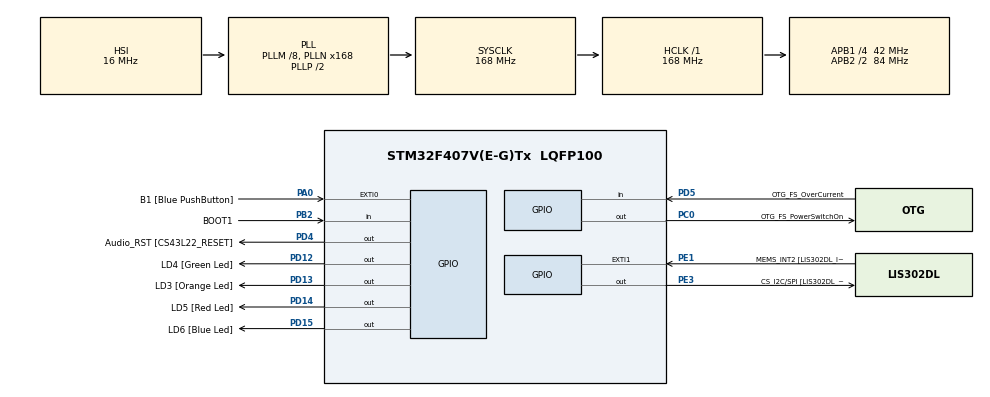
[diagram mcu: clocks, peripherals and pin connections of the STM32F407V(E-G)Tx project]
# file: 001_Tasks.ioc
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Mcu.Family=STM32F4
Mcu.Name=STM32F407V(E-G)Tx
Mcu.Package=LQFP100
NVIC.PriorityGroup=NVIC_PRIORITYGROUP_4
NVIC.TIM6_DAC_IRQn=true\:0\:0\:false\:false\:true\:false\:true\:true
NVIC.TimeBase=TIM6_DAC_IRQn
NVIC.TimeBaseIP=TIM6
PA0-WKUP.GPIO_Label=B1 [Blue PushButton]
PA0-WKUP.Signal=GPXTI0
PA10.GPIO_Label=OTG_FS_ID
PA10.GPIO_Mode=GPIO_MODE_AF_PP
PA10.GPIO_PuPd=GPIO_NOPULL
PA10.GPIO_Speed=GPIO_SPEED_FREQ_LOW
PA10.Signal=USB_OTG_FS_ID
PA11.GPIO_Label=OTG_FS_DM
PA11.GPIO_Mode=GPIO_MODE_AF_PP
PA11.GPIO_PuPd=GPIO_NOPULL
PA11.GPIO_Speed=GPIO_SPEED_FREQ_LOW
PA11.Signal=USB_OTG_FS_DM
PA12.GPIO_Label=OTG_FS_DP
PA12.GPIO_Mode=GPIO_MODE_AF_PP
PA12.GPIO_PuPd=GPIO_NOPULL
PA12.GPIO_Speed=GPIO_SPEED_FREQ_LOW
PA12.Signal=USB_OTG_FS_DP
PA13.GPIO_Label=SWDIO
PA13.Signal=SYS_JTMS-SWDIO
PA14.GPIO_Label=SWCLK
PA14.Signal=SYS_JTCK-SWCLK
PA4.GPIO_Label=I2S3_WS [CS43L22_LRCK]
PA4.GPIO_Mode=GPIO_MODE_AF_PP
PA4.GPIO_PuPd=GPIO_NOPULL
PA4.GPIO_Speed=GPIO_SPEED_FREQ_LOW
PA4.Signal=I2S3_WS
PA5.GPIO_Label=SPI1_SCK [LIS302DL_SCL/SPC]
PA5.GPIO_Mode=GPIO_MODE_AF_PP
PA5.GPIO_PuPd=GPIO_NOPULL
PA5.GPIO_Speed=GPIO_SPEED_FREQ_LOW
PA5.Signal=SPI1_SCK
PA6.GPIO_Label=SPI1_MISO [LIS302DL_SDO]
PA6.GPIO_Mode=GPIO_MODE_AF_PP
PA6.GPIO_PuPd=GPIO_NOPULL
PA6.GPIO_Speed=GPIO_SPEED_FREQ_LOW
PA6.Signal=SPI1_MISO
PA7.GPIO_Label=SPI1_MOSI [LIS302DL_SDA/SDI/SDO]
PA7.GPIO_Mode=GPIO_MODE_AF_PP
PA7.GPIO_PuPd=GPIO_NOPULL
PA7.GPIO_Speed=GPIO_SPEED_FREQ_LOW
PA7.Signal=SPI1_MOSI
PA9.GPIO_Label=VBUS_FS
PA9.GPIO_Mode=GPIO_MODE_INPUT
PA9.GPIO_PuPd=GPIO_NOPULL
PA9.Signal=USB_OTG_FS_VBUS
PB10.GPIO_Label=CLK_IN [MP45DT02_CLK]
PB10.GPIO_Mode=GPIO_MODE_AF_PP
PB10.GPIO_PuPd=GPIO_NOPULL
PB10.GPIO_Speed=GPIO_SPEED_FREQ_LOW
PB10.Signal=I2S2_CK
PB2.GPIO_Label=BOOT1
PB2.GPIO_Mode=GPIO_MODE_INPUT
PB2.GPIO_PuPd=GPIO_NOPULL
PB2.Signal=GPIO_Input
PB3.GPIO_Label=SWO
PB3.Signal=SYS_JTDO-SWO
PB6.GPIO_Label=Audio_SCL [CS43L22_SCL]
PB6.GPIO_Mode=GPIO_MODE_AF_OD
PB6.GPIO_PuPd=GPIO_NOPULL
PB6.GPIO_Speed=GPIO_SPEED_FREQ_LOW
PB6.Signal=I2C1_SCL
PB9.GPIO_Label=Audio_SDA [CS43L22_SDA]
PB9.GPIO_Mode=GPIO_MODE_AF_OD
PB9.GPIO_PuPd=GPIO_NOPULL
PB9.GPIO_Speed=GPIO_SPEED_FREQ_LOW
PB9.Signal=I2C1_SDA
PC0.GPIO_Label=OTG_FS_PowerSwitchOn
PC0.GPIO_PuPd=GPIO_NOPULL
PC0.GPIO_Speed=GPIO_SPEED_FREQ_LOW
PC0.PinState=GPIO_PIN_SET
PC0.Signal=GPIO_Output
PC10.GPIO_Label=I2S3_SCK [CS43L22_SCLK]
PC10.GPIO_Mode=GPIO_MODE_AF_PP
PC10.GPIO_PuPd=GPIO_NOPULL
PC10.GPIO_Speed=GPIO_SPEED_FREQ_LOW
PC10.Signal=I2S3_CK
PC12.GPIO_Label=I2S3_SD [CS43L22_SDIN]
PC12.GPIO_Mode=GPIO_MODE_AF_PP
PC12.GPIO_PuPd=GPIO_NOPULL
PC12.GPIO_Speed=GPIO_SPEED_FREQ_LOW
PC12.Signal=I2S3_SD
PC14-OSC32_IN.GPIO_Label=PC14-OSC32_IN
PC14-OSC32_IN.Signal=RCC_OSC32_IN
PC15-OSC32_OUT.GPIO_Label=PC15-OSC32_OUT
PC15-OSC32_OUT.Signal=RCC_OSC32_OUT
PC3.GPIO_Label=PDM_OUT [MP45DT02_DOUT]
PC3.GPIO_Mode=GPIO_MODE_AF_PP
PC3.GPIO_PuPd=GPIO_NOPULL
PC3.GPIO_Speed=GPIO_SPEED_FREQ_LOW
PC3.Signal=I2S2_SD
PC7.GPIO_Label=I2S3_MCK [CS43L22_MCLK]
PC7.GPIO_Mode=GPIO_MODE_AF_PP
PC7.GPIO_PuPd=GPIO_NOPULL
PC7.GPIO_Speed=GPIO_SPEED_FREQ_LOW
PC7.Signal=I2S3_MCK
PD12.GPIO_Label=LD4 [Green Led]
PD12.GPIO_PuPd=GPIO_NOPULL
PD12.GPIO_Speed=GPIO_SPEED_FREQ_LOW
PD12.Signal=GPIO_Output
PD13.GPIO_Label=LD3 [Orange Led]
PD13.GPIO_PuPd=GPIO_NOPULL
PD13.GPIO_Speed=GPIO_SPEED_FREQ_LOW
PD13.Signal=GPIO_Output
PD14.GPIO_Label=LD5 [Red Led]
PD14.GPIO_PuPd=GPIO_NOPULL
PD14.GPIO_Speed=GPIO_SPEED_FREQ_LOW
PD14.Signal=GPIO_Output
PD15.GPIO_Label=LD6 [Blue Led]
PD15.GPIO_PuPd=GPIO_NOPULL
PD15.GPIO_Speed=GPIO_SPEED_FREQ_LOW
PD15.Signal=GPIO_Output
PD4.GPIO_Label=Audio_RST [CS43L22_RESET]
PD4.GPIO_PuPd=GPIO_NOPULL
PD4.GPIO_Speed=GPIO_SPEED_FREQ_LOW
PD4.Signal=GPIO_Output
PD5.GPIO_Label=OTG_FS_OverCurrent
PD5.GPIO_Mode=GPIO_MODE_INPUT
PD5.GPIO_PuPd=GPIO_NOPULL
PD5.Signal=GPIO_Input
PE1.GPIO_Label=MEMS_INT2 [LIS302DL_INT2]
PE1.GPIO_ModeDefaultEXTI=GPIO_MODE_EVT_RISING
PE1.GPIO_PuPd=GPIO_NOPULL
PE1.Signal=GPXTI1
PE3.GPIO_Label=CS_I2C/SPI [LIS302DL_CS_I2C/SPI]
PE3.GPIO_PuPd=GPIO_NOPULL
PE3.GPIO_Speed=GPIO_SPEED_FREQ_LOW
PE3.Signal=GPIO_Output
PH0-OSC_IN.GPIO_Label=PH0-OSC_IN
PH0-OSC_IN.Signal=RCC_OSC_IN
PH1-OSC_OUT.GPIO_Label=PH1-OSC_OUT
PH1-OSC_OUT.Signal=RCC_OSC_OUT
ProjectManager.HeapSize=0x200
ProjectManager.StackSize=0x400
ProjectManager.TargetToolchain=STM32CubeIDE
RCC.48MHZClocksFreq_Value=48000000
RCC.AHBFreq_Value=168000000
RCC.APB1CLKDivider=RCC_HCLK_DIV4
RCC.APB1Freq_Value=42000000
RCC.APB1TimFreq_Value=84000000
RCC.APB2CLKDivider=RCC_HCLK_DIV2
RCC.APB2Freq_Value=84000000
RCC.APB2TimFreq_Value=168000000
RCC.CortexFreq_Value=168000000
RCC.HCLKFreq_Value=168000000
RCC.HSE_VALUE=8000000
RCC.HSI_VALUE=16000000
RCC.LSE_VALUE=32768
RCC.PLLM=8
RCC.PLLN=168
RCC.PLLQ=7
RCC.SYSCLKFreq_VALUE=168000000
RCC.SYSCLKSource=RCC_SYSCLKSOURCE_PLLCLK
RCC.VCOOutputFreq_Value=336000000
VP_SYS_VS_tim6.Mode=TIM6
board=STM32F407G-DISC1

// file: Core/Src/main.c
/* USER CODE BEGIN Header */
/**
  ******************************************************************************
  * @file           : main.c
  * @brief          : Main program body
  ******************************************************************************
  * @attention
  *
  * Copyright (c) 2025 STMicroelectronics.
  * All rights reserved.
  *
  * This software is licensed under terms that can be found in the LICENSE file
  * in the root directory of this software component.
  * If no LICENSE file comes with this software, it is provided AS-IS.
  *
  ******************************************************************************
  */
/* USER CODE END Header */
#include "main.h"

/* USER CODE BEGIN Includes */
#include "FreeRTOS.h"
#include "task.h"
#include<stdio.h>

/* USER CODE END Includes */

/* USER CODE BEGIN PM */
#define DWT_CTRL    (*(volatile uint32_t*)0xE0001000)
/* USER CODE END PM */

void SystemClock_Config(void);
static void MX_GPIO_Init(void);
/* USER CODE BEGIN PFP */
static void task1_handler(void* parameters);
static void task2_handler(void* parameters);
extern void SEGGER_UART_init(unsigned int baud);
/* USER CODE END PFP */

int main(void)
{

  /* USER CODE BEGIN 1 */
	BaseType_t status;
	TaskHandle_t task1_handle, task2_handle;
  /* USER CODE END 1 */

  /* MCU Configuration--------------------------------------------------------*/

  /* Reset of all peripherals, Initializes the Flash interface and the Systick. */
  HAL_Init();

  /* Configure the system clock */
  SystemClock_Config();

  /* Initialize all configured peripherals */
  MX_GPIO_Init();
  /* USER CODE BEGIN 2 */

  /* Enable the CYCCNT counter */
  DWT_CTRL |= (1 << 0);
  SEGGER_UART_init(500000);
  SEGGER_SYSVIEW_Conf();
  //SEGGER_SYSVIEW_Start();
  status = xTaskCreate(task1_handler, "Task-1", 200, "Hello world from Task-1", 2, &task1_handle);
  configASSERT(status == pdPASS);

  status = xTaskCreate(task2_handler, "Task-2", 200, "Hello world from Task-2", 2, &task2_handle);
  configASSERT(status == pdPASS);

  /* Start the freeRTOS scheduler */
  vTaskStartScheduler();

  /* USER CODE END 2 */

  /* Infinite loop */
  while (1)
  {

  }
}

void SystemClock_Config(void)
{
  RCC_OscInitTypeDef RCC_OscInitStruct = {0};
  RCC_ClkInitTypeDef RCC_ClkInitStruct = {0};

  /** Configure the main internal regulator output voltage
  */
  __HAL_RCC_PWR_CLK_ENABLE();
  __HAL_PWR_VOLTAGESCALING_CONFIG(PWR_REGULATOR_VOLTAGE_SCALE1);

  /** Initializes the RCC Oscillators according to the specified parameters
  * in the RCC_OscInitTypeDef structure.
  */
  RCC_OscInitStruct.OscillatorType = RCC_OSCILLATORTYPE_HSI;
  RCC_OscInitStruct.HSIState = RCC_HSI_ON;
  RCC_OscInitStruct.HSICalibrationValue = RCC_HSICALIBRATION_DEFAULT;
  RCC_OscInitStruct.PLL.PLLState = RCC_PLL_ON;
  RCC_OscInitStruct.PLL.PLLSource = RCC_PLLSOURCE_HSI;
  RCC_OscInitStruct.PLL.PLLM = 8;
  RCC_OscInitStruct.PLL.PLLN = 168;
  RCC_OscInitStruct.PLL.PLLP = RCC_PLLP_DIV2;
  RCC_OscInitStruct.PLL.PLLQ = 7;
  if (HAL_RCC_OscConfig(&RCC_OscInitStruct) != HAL_OK)
  {
    Error_Handler();
  }

  /** Initializes the CPU, AHB and APB buses clocks
  */
  RCC_ClkInitStruct.ClockType = RCC_CLOCKTYPE_HCLK|RCC_CLOCKTYPE_SYSCLK
                              |RCC_CLOCKTYPE_PCLK1|RCC_CLOCKTYPE_PCLK2;
  RCC_ClkInitStruct.SYSCLKSource = RCC_SYSCLKSOURCE_PLLCLK;
  RCC_ClkInitStruct.AHBCLKDivider = RCC_SYSCLK_DIV1;
  RCC_ClkInitStruct.APB1CLKDivider = RCC_HCLK_DIV4;
  RCC_ClkInitStruct.APB2CLKDivider = RCC_HCLK_DIV2;

  if (HAL_RCC_ClockConfig(&RCC_ClkInitStruct, FLASH_LATENCY_5) != HAL_OK)
  {
    Error_Handler();
  }
}

static void MX_GPIO_Init(void)
{
  GPIO_InitTypeDef GPIO_InitStruct = {0};

  /* GPIO Ports Clock Enable */
  __HAL_RCC_GPIOE_CLK_ENABLE();
  __HAL_RCC_GPIOC_CLK_ENABLE();
  __HAL_RCC_GPIOH_CLK_ENABLE();
  __HAL_RCC_GPIOA_CLK_ENABLE();
  __HAL_RCC_GPIOB_CLK_ENABLE();
  __HAL_RCC_GPIOD_CLK_ENABLE();

  /*Configure GPIO pin Output Level */
  HAL_GPIO_WritePin(CS_I2C_SPI_GPIO_Port, CS_I2C_SPI_Pin, GPIO_PIN_RESET);

  /*Configure GPIO pin Output Level */
  HAL_GPIO_WritePin(OTG_FS_PowerSwitchOn_GPIO_Port, OTG_FS_PowerSwitchOn_Pin, GPIO_PIN_SET);

  /*Configure GPIO pin Output Level */
  HAL_GPIO_WritePin(GPIOD, LD4_Pin|LD3_Pin|LD5_Pin|LD6_Pin
                          |Audio_RST_Pin, GPIO_PIN_RESET);

  /*Configure GPIO pin : CS_I2C_SPI_Pin */
  GPIO_InitStruct.Pin = CS_I2C_SPI_Pin;
  GPIO_InitStruct.Mode = GPIO_MODE_OUTPUT_PP;
  GPIO_InitStruct.Pull = GPIO_NOPULL;
  GPIO_InitStruct.Speed = GPIO_SPEED_FREQ_LOW;
  HAL_GPIO_Init(CS_I2C_SPI_GPIO_Port, &GPIO_InitStruct);

  /*Configure GPIO pin : OTG_FS_PowerSwitchOn_Pin */
  GPIO_InitStruct.Pin = OTG_FS_PowerSwitchOn_Pin;
  GPIO_InitStruct.Mode = GPIO_MODE_OUTPUT_PP;
  GPIO_InitStruct.Pull = GPIO_NOPULL;
  GPIO_InitStruct.Speed = GPIO_SPEED_FREQ_LOW;
  HAL_GPIO_Init(OTG_FS_PowerSwitchOn_GPIO_Port, &GPIO_InitStruct);

  /*Configure GPIO pin : PDM_OUT_Pin */
  GPIO_InitStruct.Pin = PDM_OUT_Pin;
  GPIO_InitStruct.Mode = GPIO_MODE_AF_PP;
  GPIO_InitStruct.Pull = GPIO_NOPULL;
  GPIO_InitStruct.Speed = GPIO_SPEED_FREQ_LOW;
  GPIO_InitStruct.Alternate = GPIO_AF5_SPI2;
  HAL_GPIO_Init(PDM_OUT_GPIO_Port, &GPIO_InitStruct);

  /*Configure GPIO pin : B1_Pin */
  GPIO_InitStruct.Pin = B1_Pin;
  GPIO_InitStruct.Mode = GPIO_MODE_IT_RISING;
  GPIO_InitStruct.Pull = GPIO_NOPULL;
  HAL_GPIO_Init(B1_GPIO_Port, &GPIO_InitStruct);

  /*Configure GPIO pin : I2S3_WS_Pin */
  GPIO_InitStruct.Pin = I2S3_WS_Pin;
  GPIO_InitStruct.Mode = GPIO_MODE_AF_PP;
  GPIO_InitStruct.Pull = GPIO_NOPULL;
  GPIO_InitStruct.Speed = GPIO_SPEED_FREQ_LOW;
  GPIO_InitStruct.Alternate = GPIO_AF6_SPI3;
  HAL_GPIO_Init(I2S3_WS_GPIO_Port, &GPIO_InitStruct);

  /*Configure GPIO pins : SPI1_SCK_Pin SPI1_MISO_Pin SPI1_MOSI_Pin */
  GPIO_InitStruct.Pin = SPI1_SCK_Pin|SPI1_MISO_Pin|SPI1_MOSI_Pin;
  GPIO_InitStruct.Mode = GPIO_MODE_AF_PP;
  GPIO_InitStruct.Pull = GPIO_NOPULL;
  GPIO_InitStruct.Speed = GPIO_SPEED_FREQ_LOW;
  GPIO_InitStruct.Alternate = GPIO_AF5_SPI1;
  HAL_GPIO_Init(GPIOA, &GPIO_InitStruct);

  /*Configure GPIO pin : BOOT1_Pin */
  GPIO_InitStruct.Pin = BOOT1_Pin;
  GPIO_InitStruct.Mode = GPIO_MODE_INPUT;
  GPIO_InitStruct.Pull = GPIO_NOPULL;
  HAL_GPIO_Init(BOOT1_GPIO_Port, &GPIO_InitStruct);

  /*Configure GPIO pin : CLK_IN_Pin */
  GPIO_InitStruct.Pin = CLK_IN_Pin;
  GPIO_InitStruct.Mode = GPIO_MODE_AF_PP;
  GPIO_InitStruct.Pull = GPIO_NOPULL;
  GPIO_InitStruct.Speed = GPIO_SPEED_FREQ_LOW;
  GPIO_InitStruct.Alternate = GPIO_AF5_SPI2;
  HAL_GPIO_Init(CLK_IN_GPIO_Port, &GPIO_InitStruct);

  /*Configure GPIO pins : LD4_Pin LD3_Pin LD5_Pin LD6_Pin
                           Audio_RST_Pin */
  GPIO_InitStruct.Pin = LD4_Pin|LD3_Pin|LD5_Pin|LD6_Pin
                          |Audio_RST_Pin;
  GPIO_InitStruct.Mode = GPIO_MODE_OUTPUT_PP;
  GPIO_InitStruct.Pull = GPIO_NOPULL;
  GPIO_InitStruct.Speed = GPIO_SPEED_FREQ_LOW;
  HAL_GPIO_Init(GPIOD, &GPIO_InitStruct);

  /*Configure GPIO pins : I2S3_MCK_Pin I2S3_SCK_Pin I2S3_SD_Pin */
  GPIO_InitStruct.Pin = I2S3_MCK_Pin|I2S3_SCK_Pin|I2S3_SD_Pin;
  GPIO_InitStruct.Mode = GPIO_MODE_AF_PP;
  GPIO_InitStruct.Pull = GPIO_NOPULL;
  GPIO_InitStruct.Speed = GPIO_SPEED_FREQ_LOW;
  GPIO_InitStruct.Alternate = GPIO_AF6_SPI3;
  HAL_GPIO_Init(GPIOC, &GPIO_InitStruct);

  /*Configure GPIO pin : VBUS_FS_Pin */
  GPIO_InitStruct.Pin = VBUS_FS_Pin;
  GPIO_InitStruct.Mode = GPIO_MODE_INPUT;
  GPIO_InitStruct.Pull = GPIO_NOPULL;
  HAL_GPIO_Init(VBUS_FS_GPIO_Port, &GPIO_InitStruct);

  /*Configure GPIO pins : OTG_FS_ID_Pin OTG_FS_DM_Pin OTG_FS_DP_Pin */
  GPIO_InitStruct.Pin = OTG_FS_ID_Pin|OTG_FS_DM_Pin|OTG_FS_DP_Pin;
  GPIO_InitStruct.Mode = GPIO_MODE_AF_PP;
  GPIO_InitStruct.Pull = GPIO_NOPULL;
  GPIO_InitStruct.Speed = GPIO_SPEED_FREQ_LOW;
  GPIO_InitStruct.Alternate = GPIO_AF10_OTG_FS;
  HAL_GPIO_Init(GPIOA, &GPIO_InitStruct);

  /*Configure GPIO pin : OTG_FS_OverCurrent_Pin */
  GPIO_InitStruct.Pin = OTG_FS_OverCurrent_Pin;
  GPIO_InitStruct.Mode = GPIO_MODE_INPUT;
  GPIO_InitStruct.Pull = GPIO_NOPULL;
  HAL_GPIO_Init(OTG_FS_OverCurrent_GPIO_Port, &GPIO_InitStruct);

  /*Configure GPIO pins : Audio_SCL_Pin Audio_SDA_Pin */
  GPIO_InitStruct.Pin = Audio_SCL_Pin|Audio_SDA_Pin;
  GPIO_InitStruct.Mode = GPIO_MODE_AF_OD;
  GPIO_InitStruct.Pull = GPIO_NOPULL;
  GPIO_InitStruct.Speed = GPIO_SPEED_FREQ_LOW;
  GPIO_InitStruct.Alternate = GPIO_AF4_I2C1;
  HAL_GPIO_Init(GPIOB, &GPIO_InitStruct);

  /*Configure GPIO pin : MEMS_INT2_Pin */
  GPIO_InitStruct.Pin = MEMS_INT2_Pin;
  GPIO_InitStruct.Mode = GPIO_MODE_EVT_RISING;
  GPIO_InitStruct.Pull = GPIO_NOPULL;
  HAL_GPIO_Init(MEMS_INT2_GPIO_Port, &GPIO_InitStruct);

}

/* USER CODE BEGIN 4 */
static void task1_handler(void* parameters)
{

	char msg[100];

	while(1)
	{
		//printf("%s\n", (char*)parameters);
		snprintf(msg,100,"%s\n", (char*)parameters);
		SEGGER_SYSVIEW_PrintfTarget(msg);
		taskYIELD();
	}

}

static void task2_handler(void* parameters)
{
	char msg[100];
	while(1)
	{
		//printf("%s\n", (char*)parameters);
		snprintf(msg,100,"%s\n", (char*)parameters);
		SEGGER_SYSVIEW_PrintfTarget(msg);
		taskYIELD();
	}

}
/* USER CODE END 4 */

void HAL_TIM_PeriodElapsedCallback(TIM_HandleTypeDef *htim)
{
  if (htim->Instance == TIM6)
  {
    HAL_IncTick();
  }
}

void Error_Handler(void)
{
  __disable_irq();
  while (1)
  {
  }
}
